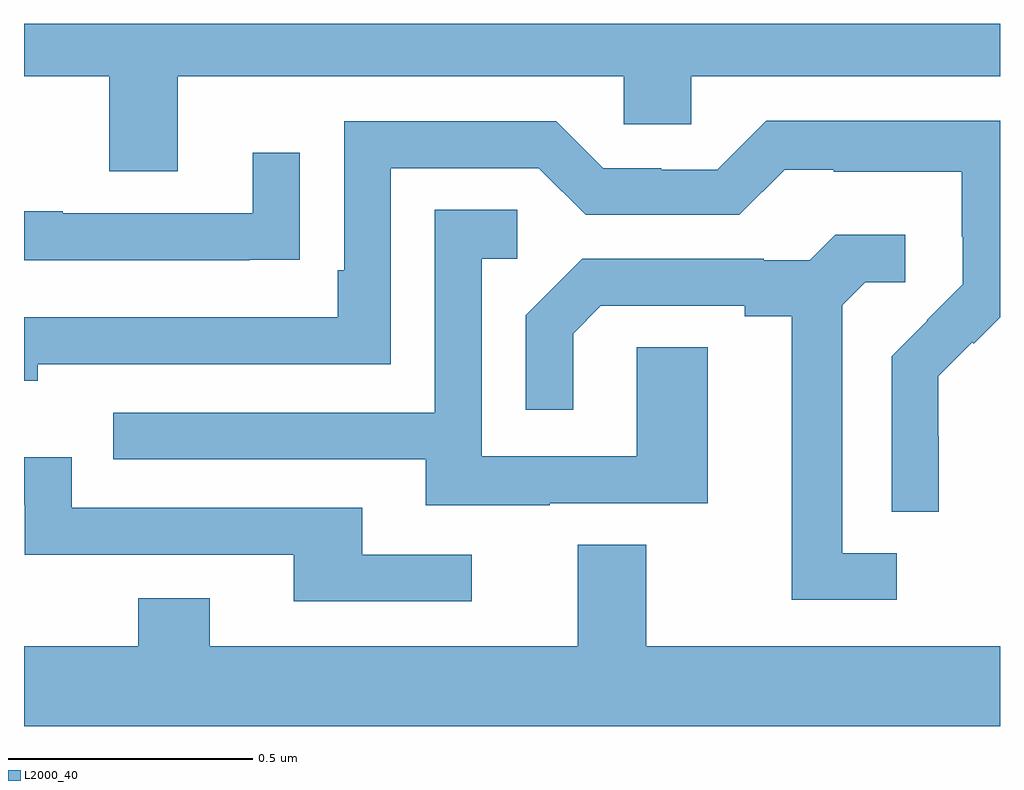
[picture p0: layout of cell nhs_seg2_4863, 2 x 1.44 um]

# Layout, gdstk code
import gdstk
lib = gdstk.Library(unit=1e-6, precision=1e-09)
def P(c, l, *ps):  # polygons
    for p in ps: c.add(gdstk.Polygon(p, *l))
L2000_40 = (2000, 40)

nhs_seg2_4863 = lib.new_cell('nhs_seg2_4863')
P(nhs_seg2_4863, L2000_40, [(172.315,591.692),(173.229,591.692),(173.229,591.594),(173.367,591.594),(173.367,591.692),(174,591.692),(174,591.8),(172,591.8),(172,591.692),(172.175,591.692),(172.175,591.498),(172.315,591.498)],
  [(173.874,590.954),(173.873,590.954),(173.873,591.077),(173.943,591.147),(173.946,591.144),(174,591.198),(174,591.601),(173.521,591.601),(173.421,591.501),(173.306,591.501),(173.306,591.504),(173.187,591.504),(173.091,591.6),(172.656,591.6),(172.656,591.295),(172.643,591.295),(172.643,591.198),(172,591.198),(172,591.068),(172.028,591.068),(172.028,591.102),(172.752,591.102),(172.752,591.504),(173.055,591.504),(173.151,591.408),(173.466,591.408),(173.559,591.501),(173.659,591.501),(173.659,591.497),(173.922,591.497),(173.922,591.363),(173.924,591.363),(173.924,591.266),(173.85,591.192),(173.851,591.191),(173.778,591.118),(173.778,590.8),(173.874,590.8)],
  [(172.463,591.316),(172.565,591.316),(172.565,591.535),(172.469,591.535),(172.469,591.411),(172.079,591.411),(172.079,591.416),(172,591.416),(172,591.315),(172.463,591.315)],
  [(173.077,590.817),(173.401,590.817),(173.401,591.137),(173.256,591.137),(173.256,590.913),(172.938,590.913),(172.938,591.318),(173.011,591.318),(173.011,591.419),(172.842,591.419),(172.842,591.003),(172.183,591.003),(172.183,590.907),(172.823,590.907),(172.823,590.813),(173.077,590.813)],
  [(173.788,590.715),(173.677,590.715),(173.677,591.223),(173.724,591.27),(173.806,591.27),(173.806,591.367),(173.662,591.367),(173.61,591.315),(173.516,591.315),(173.516,591.318),(173.144,591.318),(173.028,591.202),(173.028,591.009),(173.125,591.009),(173.125,591.165),(173.182,591.222),(173.477,591.222),(173.477,591.2),(173.573,591.2),(173.573,590.619),(173.788,590.619)],
  [(172.918,590.712),(172.693,590.712),(172.693,590.808),(172.098,590.808),(172.098,590.911),(172,590.911),(172,590.814),(172.002,590.814),(172.002,590.712),(172.553,590.712),(172.553,590.616),(172.918,590.616)],
  [(174,590.524),(173.275,590.524),(173.275,590.732),(173.135,590.732),(173.135,590.524),(172.381,590.524),(172.381,590.623),(172.234,590.623),(172.234,590.524),(172,590.524),(172,590.36),(174,590.36)])

lib.write_gds('nhs_seg2_4863.gds')
